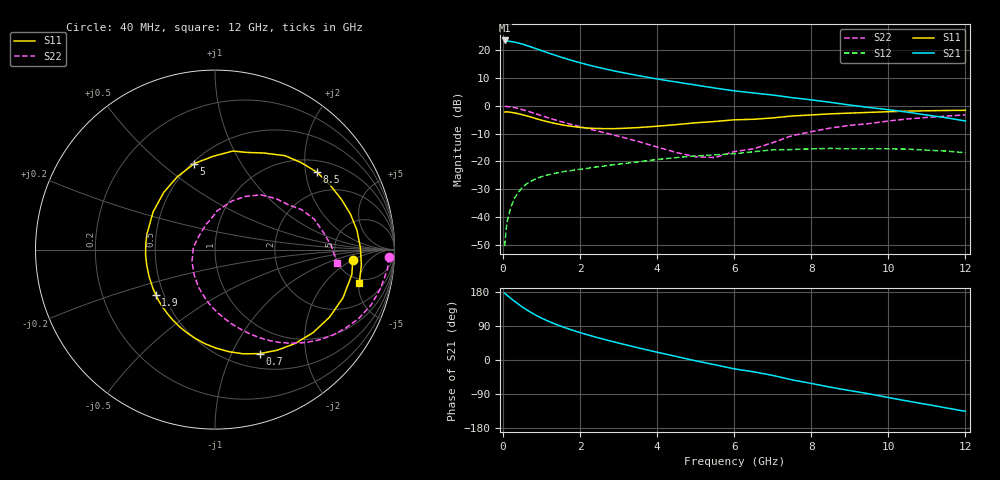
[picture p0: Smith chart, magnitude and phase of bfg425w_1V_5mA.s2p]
! Filename: 15bfg425.001
! BFG425W Field C1
! V1=8.342E-001V,V2=1.000E+000V, I1=7.034E-005A, I2=5.000E-003A
# GHz  S  MA  R 50
!  S11  S21  S12  S22
!Freq(GHz)  Mag  Ang  Mag  Ang  Mag  Ang  Mag  Ang
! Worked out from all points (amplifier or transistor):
!   44 points, 40 MHz to 12 GHz, reference 50 ohm
!   highest |S21| = 23.4 dB at 40 MHz (marker M1)
!   |S21| within 3 dB of that: start of sweep to 868.5 MHz
!   unconditionally stable (mu >= 1): 2.398 GHz to end of sweep
!   at 700 MHz: K = 0.34, MSG = 24.3 dB, |S12| = -27.3 dB
!   at 2.4 GHz: K = 1.00, MAG = 17.9 dB, |S12| = -22.0 dB
!   at 12 GHz: K = 1.49, MAG = 1.5 dB, |S12| = -16.9 dB
!   S11 on the Smith chart (normalised r, x): 40 MHz: 7.13, -1.98; 700 MHz: 0.67, -1.29; 1.9 GHz: 0.45, -0.27; 5 GHz: 0.51, +0.65; 8.5 GHz: 1.32, +2.32; 12 GHz: 4.37, -5.09
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0.04  0.77 -4.2  14.84 176.1  0.003 74.8  0.971 -2.5
0.1  0.775 -10.4  14.54 171.2  0.008 84.9  0.967 -6.5
0.2  0.762 -20.6  14.21 162.7  0.015 77.8  0.947 -13.3
0.3  0.741 -30.6  13.84 154.9  0.022 72.3  0.923 -19.5
0.4  0.716 -40.2  13.34 147.1  0.028 67.0  0.889 -25.4
0.5  0.688 -49.5  12.79 139.8  0.034 62.1  0.851 -30.7
0.6  0.659 -58.3  12.14 133.2  0.039 57.8  0.813 -35.7
0.7  0.631 -66.7  11.5 127.0  0.043 53.7  0.773 -40.4
0.9  0.574 -82.2  10.33 115.6  0.05 47.3  0.697 -48.4
1.2  0.506 -102.8  8.727 101.3  0.058 40.0  0.599 -58.2
1.5  0.457 -121.1  7.456 89.2  0.064 34.9  0.519 -66.3
1.9  0.415 -142.8  6.164 75.4  0.071 29.9  0.437 -75.6
2.2  0.397 -157.7  5.425 66.3  0.075 26.8  0.387 -82.2
2.6  0.388 -176.0  4.653 55.1  0.082 23.1  0.331 -91.0
3  0.389 167.4  4.054 44.6  0.089 19.4  0.282 -100.3
3.5  0.404 148.6  3.476 32.3  0.098 14.4  0.229 -113.6
4.5  0.457 117.3  2.657 9.2  0.117 2.7  0.144 -152.7
5  0.493 103.6  2.348 -2.2  0.125 -4.5  0.121 174.1
6.5  0.57 71.8  1.691 -31.1  0.149 -20.4  0.168 98.8
8.5  0.714 37.1  1.149 -71.8  0.171 -54.8  0.398 50.0
10.5  0.798 7.8  0.765 -108.4  0.166 -88.0  0.578 17.1
12  0.825 -13.0  0.532 -135.5  0.143 -116.8  0.685 -6.4
